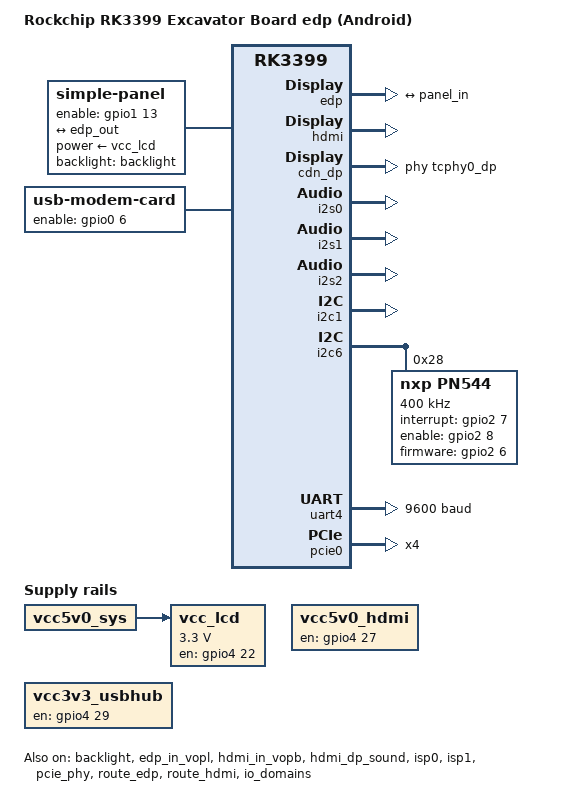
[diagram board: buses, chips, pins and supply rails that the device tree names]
/*
 * Copyright (c) 2016 Fuzhou Rockchip Electronics Co., Ltd
 *
 * This file is dual-licensed: you can use it either under the terms
 * of the GPL or the X11 license, at your option. Note that this dual
 * licensing only applies to this file, and not this project as a
 * whole.
 *
 *  a) This file is free software; you can redistribute it and/or
 *     modify it under the terms of the GNU General Public License as
 *     published by the Free Software Foundation; either version 2 of the
 *     License, or (at your option) any later version.
 *
 *     This file is distributed in the hope that it will be useful,
 *     but WITHOUT ANY WARRANTY; without even the implied warranty of
 *     MERCHANTABILITY or FITNESS FOR A PARTICULAR PURPOSE.  See the
 *     GNU General Public License for more details.
 *
 * Or, alternatively,
 *
 *  b) Permission is hereby granted, free of charge, to any person
 *     obtaining a copy of this software and associated documentation
 *     files (the "Software"), to deal in the Software without
 *     restriction, including without limitation the rights to use,
 *     copy, modify, merge, publish, distribute, sublicense, and/or
 *     sell copies of the Software, and to permit persons to whom the
 *     Software is furnished to do so, subject to the following
 *     conditions:
 *
 *     The above copyright notice and this permission notice shall be
 *     included in all copies or substantial portions of the Software.
 *
 *     THE SOFTWARE IS PROVIDED "AS IS", WITHOUT WARRANTY OF ANY KIND,
 *     EXPRESS OR IMPLIED, INCLUDING BUT NOT LIMITED TO THE WARRANTIES
 *     OF MERCHANTABILITY, FITNESS FOR A PARTICULAR PURPOSE AND
 *     NONINFRINGEMENT. IN NO EVENT SHALL THE AUTHORS OR COPYRIGHT
 *     HOLDERS BE LIABLE FOR ANY CLAIM, DAMAGES OR OTHER LIABILITY,
 *     WHETHER IN AN ACTION OF CONTRACT, TORT OR OTHERWISE, ARISING
 *     FROM, OUT OF OR IN CONNECTION WITH THE SOFTWARE OR THE USE OR
 *     OTHER DEALINGS IN THE SOFTWARE.
 */

/dts-v1/;

#include "rk3399-excavator-sapphire.dtsi"
#include "rk3399-android.dtsi"
#include "rk3399-vop-clk-set.dtsi"

/ {
	model = "Rockchip RK3399 Excavator Board edp (Android)";
	compatible = "rockchip,android", "rockchip,rk3399-excavator-edp", "rockchip,rk3399";

	vcc_lcd: vcc-lcd {
		compatible = "regulator-fixed";
		regulator-name = "vcc_lcd";
		gpio = <&gpio4 22 GPIO_ACTIVE_HIGH>; // GPIO_C6
		startup-delay-us = <20000>;
		enable-active-high;
		regulator-min-microvolt = <3300000>;
		regulator-max-microvolt = <3300000>;
		regulator-boot-on;
		vin-supply = <&vcc5v0_sys>;
	};

	panel: panel {
		compatible = "simple-panel";
		backlight = <&backlight>;
		power-supply = <&vcc_lcd>;
		enable-gpios = <&gpio1 13 GPIO_ACTIVE_HIGH>;
		prepare-delay-ms = <20>;
		enable-delay-ms = <20>;
		delay,prepare = <20>;
		delay,enable = <20>;

		display-timings {
			native-mode = <&timing0>;

			timing0: timing0 { // Innolux N116HSE-EBC eDP 1920x1080
				clock-frequency = <138780000>;
				hactive = <1920>;
				vactive = <1080>;
				hfront-porch = <48>;
				hsync-len = <32>;
				hback-porch = <80>;
				vfront-porch = <3>;
				vsync-len = <5>;
				vback-porch = <24>;
				hsync-active = <0>;
				vsync-active = <0>;
				de-active = <0>;
				pixelclk-active = <0>;
			};
		};

		ports {
			panel_in: endpoint {
				remote-endpoint = <&edp_out>;
			};
		};
	};

	test-power {
		status = "okay";
	};

	rt5651-sound {
		status = "disabled";
	};

	rt5640-sound {
		status = "okay";
	};

	hdmiin-sound {
		compatible = "rockchip,rockchip-rt5651-tc358749x-sound";
		rockchip,cpu = <&i2s0>;
		rockchip,codec = <&rt5651 &rt5651 &tc358749x>;
		status = "okay";
	};

	vcc5v0_hdmi: vcc5v0-hdmi-regulator {
		compatible = "regulator-fixed";
		enable-active-high;
		gpio = <&gpio4 27 GPIO_ACTIVE_HIGH>;
		pinctrl-names = "default";
		pinctrl-0 = <&hdmi_en>;
		regulator-name = "vcc5v0_hdmi";
		regulator-always-on;
	};

	vcc3v3_usbhub: vcc3v3-usbhub-regulator {
		compatible = "regulator-fixed";
		enable-active-high;
		gpio = <&gpio4 29 GPIO_ACTIVE_HIGH>;
		pinctrl-names = "default";
		pinctrl-0 = <&usb_hub_en>;
		regulator-name = "vcc3v3_usbhub";
		regulator-always-on;
	};

	usb-modem-card {
		compatible = "usb-modem-card";
		pinctrl-names = "default";
		pinctrl-0 = <&usb_modem_card_en>;
		enable-gpios = <&gpio0 6 GPIO_ACTIVE_HIGH>;
	};
};

&backlight {
	status = "okay";
	enable-gpios = <&gpio4 28 GPIO_ACTIVE_HIGH>; // GPIO_D4
};

&edp {
	status = "okay";
	force-hpd;

	ports {
		port@1 {
			reg = <1>;

			edp_out: endpoint {
				remote-endpoint = <&panel_in>;
			};
		};
	};
};

&edp_in_vopb {
	status = "disabled";
};

&edp_in_vopl {
	status = "okay";
};

&hdmi {
	status = "okay";
};

&hdmi_in_vopb {
	status = "okay";
};

&hdmi_in_vopl {
	status = "disabled";
};

&rt5651 {
	status = "disabled";
};

&cdn_dp {
	status = "okay";
	extcon = <&fusb0>;
	phys = <&tcphy0_dp>;
};

&hdmi_dp_sound {
	status = "okay";
};

&dp_in_vopb {
	status = "disabled";
};

&i2s0 {
	status = "okay";
};

&i2s1 {
	status = "okay";
};

&i2s2 {
	#sound-dai-cells = <0>;
	dmas = <&dmac_bus 4>;
	dma-names = "tx";
	status = "okay";
};

&i2c1 {
	status = "okay";

	gsl3673: gsl3673@40 {
		compatible = "GSL,GSL3673";
		reg = <0x40>;
		screen_max_x = <1536>;
		screen_max_y = <2048>;
		irq_gpio_number = <&gpio1 20 IRQ_TYPE_LEVEL_LOW>;
		rst_gpio_number = <&gpio4 22 GPIO_ACTIVE_HIGH>;
		status = "disabled";
	};

	tc358749x: tc358749x@0f {
		compatible = "toshiba,tc358749x";
		reg = <0x0f>;
		power-gpios = <&gpio2 6 GPIO_ACTIVE_HIGH>;
		power18-gpios = <&gpio2 9 GPIO_ACTIVE_HIGH>;
		power33-gpios = <&gpio2 5 GPIO_ACTIVE_HIGH>;
		csi-ctl-gpios = <&gpio2 10 GPIO_ACTIVE_HIGH>;
		stanby-gpios = <&gpio2 8 GPIO_ACTIVE_HIGH>;
		reset-gpios = <&gpio2 7 GPIO_ACTIVE_HIGH>;
		int-gpios = <&gpio2 12 GPIO_ACTIVE_HIGH>;
		pinctrl-names = "default";
		pinctrl-0 = <&hdmiin_gpios>;
		status = "disabled";
	};
};

&i2c6 {
	status = "okay";

	cw2015@62 {
		status = "disabled";
		compatible = "cw201x";
		reg = <0x62>;
		bat_config_info = <0x15 0x42 0x60 0x59 0x52 0x58 0x4D 0x48
				   0x48 0x44 0x44 0x46 0x49 0x48 0x32 0x24
				   0x20 0x17 0x13 0x0F 0x19 0x3E 0x51 0x45
				   0x08 0x76 0x0B 0x85 0x0E 0x1C 0x2E 0x3E
				   0x4D 0x52 0x52 0x57 0x3D 0x1B 0x6A 0x2D
				   0x25 0x43 0x52 0x87 0x8F 0x91 0x94 0x52
				   0x82 0x8C 0x92 0x96 0xFF 0x7B 0xBB 0xCB
				   0x2F 0x7D 0x72 0xA5 0xB5 0xC1 0x46 0xAE>;
		monitor_sec = <5>;
		virtual_power = <0>;
	};

	pn544: pn544@28 {
		compatible = "nxp,pn544";
		reg = <0x28>;
		clock-frequency = <400000>;
		interrupt-gpios = <&gpio2 7 GPIO_ACTIVE_HIGH>;
		enable-gpios = <&gpio2 8 GPIO_ACTIVE_HIGH>;
		firmware-gpios = <&gpio2 6 GPIO_ACTIVE_HIGH>;
		pinctrl-names = "default";
		pinctrl-0 = <&nfc_gpios>;
		status = "okay";
	};
};

&i2c7 {
	status = "disabled";
};

&spi1 {
	status = "disabled";
};

&uart4 {
	current-speed = <9600>;
	no-loopback-test;
	status = "okay";
};

&isp0 {
	status = "okay";
};

&isp1 {
	status = "okay";
};

&isp0_mmu {
	status = "okay";
};

&isp1_mmu {
	status = "okay";
};

&vopb {
	assigned-clocks = <&cru DCLK_VOP0_DIV>;
	assigned-clock-parents = <&cru PLL_VPLL>;
};

&vopl {
	assigned-clocks = <&cru DCLK_VOP1_DIV>;
	assigned-clock-parents = <&cru PLL_CPLL>;
};

&pcie_phy {
	status = "okay";
};

&pcie0 {
	ep-gpios = <&gpio2 4 GPIO_ACTIVE_HIGH>;
	num-lanes = <4>;
	pinctrl-names = "default";
	pinctrl-0 = <&pcie_clkreqn>;
	status = "okay";
};

&route_edp {
	status = "okay";
	logo,mode = "center";
	connect = <&vopl_out_edp>;
};

&route_hdmi {
	status = "okay";
	logo,mode = "center";
	connect = <&vopb_out_hdmi>;
};

&sdmmc {
	sd-uhs-sdr104;
	enable-gpios = <&gpio0 1 GPIO_ACTIVE_HIGH>;
};

&io_domains {
	status = "okay";
	bt656-supply = <&vcc1v8_dvp>; /* APIO2_VDD */
};

&pmu_io_domains {
	status = "okay";
	pmu1830-supply = <&vcc_1v8>; /* PMUIO2_VDD */
};

&pinctrl {
	lcd-panel {
		lcd_panel_reset: lcd-panel-reset {
			rockchip,pins = <4 30 RK_FUNC_GPIO &pcfg_pull_up>;
		};
	};

	hdmiin {
		hdmiin_gpios: hdmiin_gpios {
		rockchip,pins =
				<2 5 RK_FUNC_GPIO &pcfg_pull_none>,
				<2 6 RK_FUNC_GPIO &pcfg_pull_none>,
				<2 7 RK_FUNC_GPIO &pcfg_pull_none>,
				<2 8 RK_FUNC_GPIO &pcfg_pull_none>,
				<2 9 RK_FUNC_GPIO &pcfg_pull_none>,
				<2 12 RK_FUNC_GPIO &pcfg_pull_none>;
		};
	};

	hdmien {
		hdmi_en: hdmi-en {
			rockchip,pins = <4 27 RK_FUNC_GPIO &pcfg_pull_up>;
		};
	};

	usbhuben {
		usb_hub_en: usb-hub-en {
			rockchip,pins = <4 29 RK_FUNC_GPIO &pcfg_pull_up>;
		};
	};

	usb-modem-card {
		usb_modem_card_en: usb-modem-card-en {
			rockchip,pins = <0 6 RK_FUNC_GPIO &pcfg_pull_none>;
		};
	};

	sdmmc {
		sdmmc_en: sdmmc-en {
			rockchip,pins = <0 1 RK_FUNC_GPIO &pcfg_pull_none>;
		};
	};

	nfc {
		nfc_gpios: nfc-gpios {
			rockchip,pins =
					<2 6 RK_FUNC_GPIO &pcfg_pull_none>,
					<2 7 RK_FUNC_GPIO &pcfg_pull_none>,
					<2 8 RK_FUNC_GPIO &pcfg_pull_none>;
		};
	};
};

